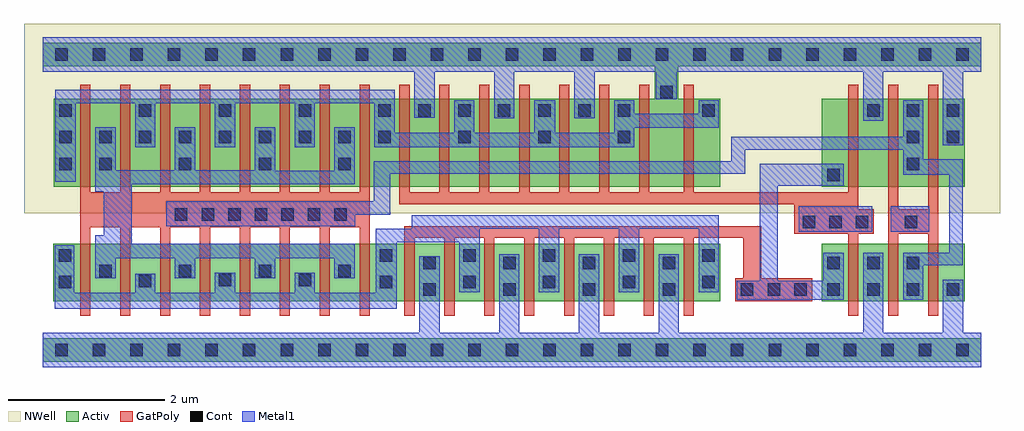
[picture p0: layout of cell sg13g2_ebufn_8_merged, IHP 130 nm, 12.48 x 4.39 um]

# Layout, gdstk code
import gdstk
lib = gdstk.Library(unit=1e-6, precision=1e-09)
def R(c, l, rs):  # rectangles x0, y0, x1, y1
    for r in rs: c.add(gdstk.rectangle(r[:2], r[2:], *l))
def A(c, l, x, y, w, h, nx, ny, dx, dy):  # array of equal rectangles
    R(c, l, [(x+i*dx, y+j*dy, x+i*dx+w, y+j*dy+h) for i in range(nx) for j in range(ny)])
def P(c, l, *ps):  # polygons
    for p in ps: c.add(gdstk.Polygon(p, *l))
Activ = (1, 0)
GatPoly = (5, 0)
Cont = (6, 0)
Metal1 = (8, 0)
NWell = (31, 0)

sg13g2_ebufn_8_merged = lib.new_cell('sg13g2_ebufn_8_merged')
R(sg13g2_ebufn_8_merged, Activ, [(0,-0.15,12,0.15), (0.135,0.62,8.665,1.36), (9.96,0.62,11.79,1.36), (9.96,2.09,11.79,3.21)])
P(sg13g2_ebufn_8_merged, Activ, [(0.14,2.09),(0.14,3.21),(7.825,3.21),(7.825,3.63),(0,3.63),(0,3.93),(12,3.93),(12,3.63),(8.125,3.63),(8.125,3.21),(8.665,3.21),(8.665,2.09)])
P(sg13g2_ebufn_8_merged, GatPoly, [(4.625,0.44),(4.625,1.585),(9.19,1.585),(9.19,0.92),(9.84,0.92),(9.84,0.62),(8.855,0.62),(8.855,0.92),(8.955,0.92),(8.955,1.435),(8.325,1.435),(8.325,0.44),(8.195,0.44),(8.195,1.435),(7.815,1.435),(7.815,0.44),(7.685,0.44),(7.685,1.435),(7.305,1.435),(7.305,0.44),(7.175,0.44),(7.175,1.435),(6.795,1.435),(6.795,0.44),(6.665,0.44),(6.665,1.435),(6.285,1.435),(6.285,0.44),(6.155,0.44),(6.155,1.435),(5.775,1.435),(5.775,0.44),(5.645,0.44),(5.645,1.435),(5.265,1.435),(5.265,0.44),(5.135,0.44),(5.135,1.435),(4.755,1.435),(4.755,0.44)],
  [(0.48,0.44),(0.48,3.39),(0.61,3.39),(0.61,2.015),(0.99,2.015),(0.99,3.39),(1.12,3.39),(1.12,2.015),(1.5,2.015),(1.5,3.39),(1.63,3.39),(1.63,2.015),(2.01,2.015),(2.01,3.39),(2.14,3.39),(2.14,2.015),(2.52,2.015),(2.52,3.39),(2.65,3.39),(2.65,2.015),(3.03,2.015),(3.03,3.39),(3.16,3.39),(3.16,2.015),(3.54,2.015),(3.54,3.39),(3.67,3.39),(3.67,2.015),(4.05,2.015),(4.05,3.39),(4.18,3.39),(4.18,0.44),(4.05,0.44),(4.05,1.57),(3.67,1.57),(3.67,0.44),(3.54,0.44),(3.54,1.57),(3.16,1.57),(3.16,0.44),(3.03,0.44),(3.03,1.57),(2.65,1.57),(2.65,0.44),(2.52,0.44),(2.52,1.57),(2.14,1.57),(2.14,0.44),(2.01,0.44),(2.01,1.57),(1.63,1.57),(1.63,0.44),(1.5,0.44),(1.5,1.57),(1.12,1.57),(1.12,0.44),(0.99,0.44),(0.99,1.57),(0.61,1.57),(0.61,0.44)],
  [(10.3,0.44),(10.3,1.485),(9.61,1.485),(9.61,1.865),(4.56,1.865),(4.56,3.39),(4.69,3.39),(4.69,2.015),(5.07,2.015),(5.07,3.39),(5.2,3.39),(5.2,2.015),(5.58,2.015),(5.58,3.39),(5.71,3.39),(5.71,2.015),(6.095,2.015),(6.095,3.39),(6.225,3.39),(6.225,2.015),(6.605,2.015),(6.605,3.39),(6.735,3.39),(6.735,2.015),(7.115,2.015),(7.115,3.39),(7.245,3.39),(7.245,2.015),(7.625,2.015),(7.625,3.39),(7.755,3.39),(7.755,2.015),(8.195,2.015),(8.195,3.39),(8.325,3.39),(8.325,2.015),(10.3,2.015),(10.3,3.39),(10.43,3.39),(10.43,1.8),(10.625,1.8),(10.625,1.485),(10.43,1.485),(10.43,0.44)],
  [(10.81,0.44),(10.81,3.39),(10.94,3.39),(10.94,1.8),(11.32,1.8),(11.32,3.39),(11.45,3.39),(11.45,0.44),(11.32,0.44),(11.32,1.485),(10.94,1.485),(10.94,0.44)])
A(sg13g2_ebufn_8_merged, Cont, 0.16, -0.08, 0.16, 0.16, 25, 2, 0.48, 3.78)
A(sg13g2_ebufn_8_merged, Cont, 4.865, 0.69, 0.16, 0.16, 4, 2, 1.02, 0.34)
A(sg13g2_ebufn_8_merged, Cont, 10.03, 0.69, 0.16, 0.16, 4, 1, 0.51, 0)
A(sg13g2_ebufn_8_merged, Cont, 5.375, 0.79, 0.16, 0.16, 4, 2, 1.02, 0.34)
A(sg13g2_ebufn_8_merged, Cont, 0.72, 0.93, 0.16, 0.16, 4, 2, 1.02, 1.37)
A(sg13g2_ebufn_8_merged, Cont, 10.03, 1.03, 0.16, 0.16, 3, 1, 0.51, 0)
A(sg13g2_ebufn_8_merged, Cont, 9.715, 1.555, 0.16, 0.16, 3, 1, 0.34, 0)
A(sg13g2_ebufn_8_merged, Cont, 1.69, 1.655, 0.16, 0.16, 7, 1, 0.34, 0)
A(sg13g2_ebufn_8_merged, Cont, 0.21, 2.64, 0.16, 0.16, 9, 1, 0.51, 0)
A(sg13g2_ebufn_8_merged, Cont, 0.21, 2.98, 0.16, 0.16, 5, 1, 1.02, 0)
A(sg13g2_ebufn_8_merged, Cont, 4.8, 2.98, 0.16, 0.16, 3, 1, 0.51, 0)
A(sg13g2_ebufn_8_merged, Cont, 6.335, 2.98, 0.16, 0.16, 3, 1, 0.51, 0)
A(sg13g2_ebufn_8_merged, Cont, 10.54, 2.98, 0.16, 0.16, 3, 1, 0.51, 0)
R(sg13g2_ebufn_8_merged, Cont, [(8.925,0.69,9.085,0.85), (9.27,0.69,9.43,0.85), (9.61,0.69,9.77,0.85), (0.205,0.79,0.365,0.95), (4.31,0.79,4.47,0.95), (1.23,0.8,1.39,0.96), (2.25,0.815,2.41,0.975), (3.27,0.815,3.43,0.975), (0.205,1.13,0.365,1.29), (4.31,1.13,4.47,1.29), (11.025,1.555,11.185,1.715), (10.03,2.16,10.19,2.32), (0.21,2.3,0.37,2.46), (11.05,2.3,11.21,2.46), (5.31,2.64,5.47,2.8), (6.335,2.64,6.495,2.8), (7.355,2.64,7.515,2.8), (11.05,2.64,11.21,2.8), (11.56,2.64,11.72,2.8), (8.435,2.98,8.595,3.14), (7.895,3.22,8.055,3.38)])
R(sg13g2_ebufn_8_merged, Metal1, [(9.665,1.51,10.605,1.835), (10.84,1.51,11.335,1.835)])
P(sg13g2_ebufn_8_merged, Metal1, [(0,-0.22),(0,0.22),(4.815,0.22),(4.815,1.2),(5.075,1.2),(5.075,0.22),(5.835,0.22),(5.835,1.225),(6.095,1.225),(6.095,0.22),(6.855,0.22),(6.855,1.225),(7.115,1.225),(7.115,0.22),(7.875,0.22),(7.875,1.225),(8.135,1.225),(8.135,0.22),(10.49,0.22),(10.49,1.24),(10.75,1.24),(10.75,0.22),(11.51,0.22),(11.51,0.9),(11.77,0.9),(11.77,0.22),(12,0.22),(12,-0.22)],
  [(0.15,0.53),(0.15,1.34),(0.405,1.34),(0.405,0.73),(1.18,0.73),(1.18,0.975),(1.44,0.975),(1.44,0.73),(2.2,0.73),(2.2,0.985),(2.46,0.985),(2.46,0.73),(3.22,0.73),(3.22,0.985),(3.48,0.985),(3.48,0.73),(4.26,0.73),(4.26,1.55),(4.72,1.55),(4.72,1.72),(8.645,1.72),(8.645,0.74),(8.385,0.74),(8.385,1.55),(7.625,1.55),(7.625,0.74),(7.365,0.74),(7.365,1.55),(6.605,1.55),(6.605,0.74),(6.345,0.74),(6.345,1.55),(5.585,1.55),(5.585,0.74),(5.325,0.74),(5.325,1.38),(4.525,1.38),(4.525,0.53)],
  [(8.875,0.64),(8.875,0.885),(9.165,0.885),(9.165,2.38),(10.24,2.38),(10.24,2.1),(9.4,2.1),(9.4,0.885),(9.98,0.885),(9.98,1.24),(10.24,1.24),(10.24,0.64)],
  [(3.73,0.915),(3.73,1.17),(2.97,1.17),(2.97,0.92),(2.71,0.92),(2.71,1.17),(1.95,1.17),(1.95,0.92),(1.685,0.92),(1.685,1.17),(0.93,1.17),(0.93,0.92),(0.67,0.92),(0.67,1.465),(0.78,1.465),(0.78,2.02),(0.67,2.02),(0.67,2.85),(0.93,2.85),(0.93,2.295),(1.69,2.295),(1.69,2.85),(1.95,2.85),(1.95,2.295),(2.71,2.295),(2.71,2.85),(2.97,2.85),(2.97,2.29),(3.73,2.29),(3.73,2.85),(3.99,2.85),(3.99,2.12),(1.14,2.12),(1.14,1.36),(3.99,1.36),(3.99,0.915)],
  [(11,0.64),(11,1.24),(11.59,1.24),(11.59,2.24),(11,2.24),(11,2.56),(8.985,2.56),(8.985,2.25),(4.445,2.25),(4.445,1.73),(3.995,1.73),(3.995,1.585),(1.58,1.585),(1.58,1.9),(4.235,1.9),(4.235,2.41),(8.805,2.41),(8.805,2.725),(11,2.725),(11,3.19),(11.26,3.19),(11.26,2.44),(11.765,2.44),(11.765,1.08),(11.26,1.08),(11.26,0.64)],
  [(0.16,2.15),(0.16,3.325),(4.5,3.325),(4.5,2.78),(5.26,2.78),(5.26,3.19),(5.52,3.19),(5.52,2.78),(6.285,2.78),(6.285,3.19),(6.55,3.19),(6.55,2.775),(7.305,2.775),(7.305,3.19),(7.565,3.19),(7.565,3.02),(8.385,3.02),(8.385,3.19),(8.645,3.19),(8.645,2.84),(7.565,2.84),(7.565,2.59),(4.24,2.59),(4.24,3.155),(3.48,3.155),(3.48,2.59),(3.22,2.59),(3.22,3.155),(2.46,3.155),(2.46,2.59),(2.2,2.59),(2.2,3.155),(1.44,3.155),(1.44,2.59),(1.18,2.59),(1.18,3.155),(0.42,3.155),(0.42,2.15)],
  [(11.51,2.62),(11.51,3.56),(10.75,3.56),(10.75,2.93),(10.49,2.93),(10.49,3.56),(8.105,3.56),(8.105,3.205),(7.84,3.205),(7.84,3.56),(7.055,3.56),(7.055,2.96),(6.795,2.96),(6.795,3.56),(6.03,3.56),(6.03,2.96),(5.77,2.96),(5.77,3.56),(5.01,3.56),(5.01,2.97),(4.75,2.97),(4.75,3.56),(0,3.56),(0,4),(12,4),(12,3.56),(11.77,3.56),(11.77,2.62)])
R(sg13g2_ebufn_8_merged, NWell, [(-0.24,1.75,12.24,4.17)])

lib.write_gds('sg13g2_ebufn_8_merged.gds')
